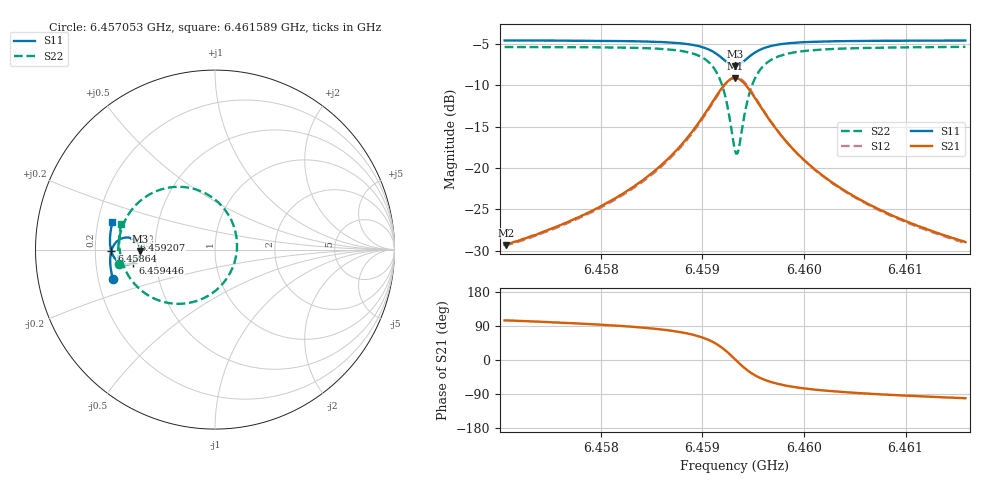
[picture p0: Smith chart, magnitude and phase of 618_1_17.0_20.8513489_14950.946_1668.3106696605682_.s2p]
#  HZ  S  RI  R  50.00
! Rohde & Schwarz Vector Network Analyzer
! Rohde-Schwarz,ZNB20-2Port,1311601062101988,3.16
! Created: UTC 3/20/2024, 11:19:48 PM
! freq[Hz]  re:S11  im:S11  re:S21  im:S21  re:S12  im:S12  re:S22  im:S22
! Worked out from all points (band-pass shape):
!   401 points, 6.457053 GHz to 6.461589 GHz, reference 50 ohm
!   highest |S21| = -9.10 dB at 6.459321 GHz (marker M1); lowest = -29.3 dB at 6.457064 GHz (marker M2)
!   |S21| within 3 dB of the highest: 6.459094 GHz to 6.459548 GHz (453.8 kHz wide, 0.00703 % of centre)
!   lowest |S11| = -7.6 dB at 6.459321 GHz (marker M3), VSWR 2.42, Z = 20.6 - j0.388 ohm
!   |S11| at or under -10 dB: nowhere
!   |S22| runs from -18.3 to -5.3 dB; largest |S21 - S12| = 0.014
!   S11 on the Smith chart (normalised r, x): 6.457053 GHz: 0.26, -0.13; 6.45864 GHz: 0.27, -0.01; 6.459207 GHz: 0.38, +0.05; 6.459446 GHz: 0.37, -0.07; 6.461589 GHz: 0.26, +0.12
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6.4570525e9  -0.5683 -0.1665  -0.00863 0.0332  -0.00694 0.033  -0.5347 -0.0777
6.4570639e9  -0.5686 -0.1654  -0.00865 0.0332  -0.00693 0.0331  -0.5349 -0.0765
6.4578124e9  -0.5815 -0.0995  -0.00524 0.0513  -0.00262 0.0506  -0.539 0.0123
6.4582321e9  -0.584 -0.0573  0.000937 0.071  0.00436 0.0695  -0.5298 0.0798
6.4585723e9  -0.5798 -0.0161  0.0153 0.1  0.0193 0.0972  -0.5032 0.158
6.4586404e9  -0.5775 -0.00673  0.0208 0.1087  0.0249 0.1053  -0.4928 0.178
6.4588332e9  -0.5645 0.0237  0.0479 0.1397  0.052 0.1347  -0.4417 0.2474
6.4589806e9  -0.5414 0.0499  0.094 0.1703  0.0972 0.1636  -0.3565 0.312
6.4591167e9  -0.4969 0.0672  0.1825 0.1865  0.1835 0.1791  -0.1945 0.3498
6.4592074e9  -0.4518 0.0564  0.2735 0.1543  0.2737 0.1484  -0.0257 0.2971
6.4592755e9  -0.4225 0.0238  0.3345 0.081  0.3368 0.0757  0.0909 0.1646
6.4593209e9  -0.4155 -0.00778  0.3506 0.0121  0.3545 0.00497  0.1226 0.0352
6.4593549e9  -0.4197 -0.0319  0.3445 -0.0412  0.3486 -0.0504  0.1103 -0.066
6.4594003e9  -0.4356 -0.0583  0.3152 -0.1019  0.3176 -0.1141  0.0507 -0.181
6.4594456e9  -0.458 -0.0748  0.2721 -0.1433  0.2714 -0.1568  -0.0365 -0.2564
6.4595364e9  -0.502 -0.0818  0.186 -0.1743  0.1796 -0.1862  -0.2088 -0.3021
6.4596838e9  -0.5465 -0.0611  0.0968 -0.1598  0.0881 -0.166  -0.379 -0.2506
6.4598426e9  -0.5682 -0.0333  0.0514 -0.131  0.0435 -0.1338  -0.4601 -0.1768
6.4600808e9  -0.5809 0.00225  0.022 -0.0988  0.0161 -0.0994  -0.5082 -0.093
6.460421e9  -0.5854 0.0432  0.0059 -0.0715  0.00188 -0.0711  -0.5294 -0.0132
6.4608407e9  -0.5835 0.0855  -0.00165 -0.0525  -0.00456 -0.0517  -0.5335 0.0552
6.4615892e9  -0.5713 0.1521  -0.00673 -0.035  -0.0085 -0.0341  -0.522 0.1446
